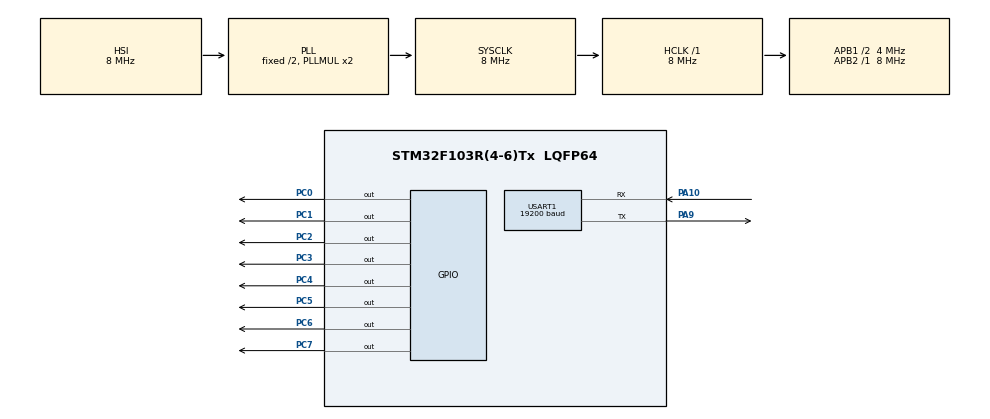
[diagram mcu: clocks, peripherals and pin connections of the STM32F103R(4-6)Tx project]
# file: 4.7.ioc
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Mcu.Family=STM32F1
Mcu.Name=STM32F103R(4-6)Tx
Mcu.Package=LQFP64
NVIC.PriorityGroup=NVIC_PRIORITYGROUP_4
NVIC.USART1_IRQn=true\:0\:0\:false\:false\:true\:true\:true
PA10.Mode=Asynchronous
PA10.Signal=USART1_RX
PA9.Mode=Asynchronous
PA9.Signal=USART1_TX
PC0.PinState=GPIO_PIN_SET
PC0.Signal=GPIO_Output
PC1.PinState=GPIO_PIN_SET
PC1.Signal=GPIO_Output
PC2.PinState=GPIO_PIN_SET
PC2.Signal=GPIO_Output
PC3.PinState=GPIO_PIN_SET
PC3.Signal=GPIO_Output
PC4.PinState=GPIO_PIN_SET
PC4.Signal=GPIO_Output
PC5.PinState=GPIO_PIN_SET
PC5.Signal=GPIO_Output
PC6.PinState=GPIO_PIN_SET
PC6.Signal=GPIO_Output
PC7.PinState=GPIO_PIN_SET
PC7.Signal=GPIO_Output
ProjectManager.HeapSize=0x200
ProjectManager.StackSize=0x400
ProjectManager.TargetToolchain=STM32CubeIDE
RCC.AHBFreq_Value=8000000
RCC.APB1CLKDivider=RCC_HCLK_DIV2
RCC.APB1Freq_Value=4000000
RCC.APB1TimFreq_Value=8000000
RCC.APB2Freq_Value=8000000
RCC.APB2TimFreq_Value=8000000
RCC.HCLKFreq_Value=8000000
RCC.SYSCLKFreq_VALUE=8000000
RCC.SYSCLKSource=RCC_SYSCLKSOURCE_PLLCLK
RCC.USBFreq_Value=8000000
USART1.BaudRate=19200
USART1.Parity=PARITY_EVEN
USART1.VirtualMode=VM_ASYNC
USART1.WordLength=WORDLENGTH_9B
VP_SYS_VS_ND.Mode=No_Debug
board=custom

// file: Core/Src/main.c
/* USER CODE BEGIN Header */
/**
  ******************************************************************************
  * @file           : main.c
  * @brief          : Main program body
  ******************************************************************************
  * @attention
  *
  * <h2><center>&copy; Copyright (c) 2020 STMicroelectronics.
  * All rights reserved.</center></h2>
  *
  * This software component is licensed by ST under BSD 3-Clause license,
  * the "License"; You may not use this file except in compliance with the
  * License. You may obtain a copy of the License at:
  *                        opensource.org/licenses/BSD-3-Clause
  *
  ******************************************************************************
  */
/* USER CODE END Header */
#include "main.h"

/* USER CODE BEGIN Includes */
#include "crc16.h"
/* USER CODE END Includes */

UART_HandleTypeDef huart1;

/* USER CODE BEGIN PV */
uint8_t rf=0;
uint8_t RcvDat[8];
/* USER CODE END PV */

void SystemClock_Config(void);
static void MX_GPIO_Init(void);
static void MX_USART1_UART_Init(void);

int main(void)
{

  /* MCU Configuration--------------------------------------------------------*/

  /* Reset of all peripherals, Initializes the Flash interface and the Systick. */
  HAL_Init();

  /* Configure the system clock */
  SystemClock_Config();

  /* Initialize all configured peripherals */
  MX_GPIO_Init();
  MX_USART1_UART_Init();
  /* USER CODE BEGIN 2 */
  HAL_UART_Receive_IT(&huart1,RcvDat,8);
  /* USER CODE END 2 */

  /* Infinite loop */
  /* USER CODE BEGIN WHILE */
  while (1)
  {
	  if(rf==1)
	  {
		  rf=0;
		  /*数据包的解析*/
		  if(crc16_gen(RcvDat,8)==0 && RcvDat[0]==1 && RcvDat[1]==0x05)  //校验并对比站号与功能�?
		  {
			  /*线圈0*/
			  if(RcvDat[2]==0 && RcvDat[3]==0)
			  {
				  if     (RcvDat[4]==0xff && RcvDat[5]==0)
					  HAL_GPIO_WritePin(GPIOC, GPIO_PIN_0,GPIO_PIN_RESET);  //ON
				  else if(RcvDat[4]==0x00 && RcvDat[5]==0)
					  HAL_GPIO_WritePin(GPIOC, GPIO_PIN_0,GPIO_PIN_SET);    //OFF
			  }
			  /*线圈1*/
			  if(RcvDat[2]==0 && RcvDat[3]==1)
			  {
				  if     (RcvDat[4]==0xff && RcvDat[5]==0)
					  HAL_GPIO_WritePin(GPIOC, GPIO_PIN_1,GPIO_PIN_RESET);  //ON
				  else if(RcvDat[4]==0x00 && RcvDat[5]==0)
					  HAL_GPIO_WritePin(GPIOC, GPIO_PIN_1,GPIO_PIN_SET);    //OFF
			  }
			  /*线圈2*/
			  //[代码略]

			  /*线圈3*/
			  //[代码略]

			  /*线圈4*/
			  //[代码略]

			  /*线圈5*/
			  //[代码略]

			  /*线圈6*/
			  //[代码略]

			  /*线圈7*/
			  //[代码略]

			  HAL_UART_Transmit_IT(&huart1,RcvDat,8);
		  }
		  else
		  {
			  HAL_UART_Receive_IT(&huart1,RcvDat,8);
		  }
	  }
    /* USER CODE END WHILE */

  }
}

void SystemClock_Config(void)
{
  RCC_OscInitTypeDef RCC_OscInitStruct = {0};
  RCC_ClkInitTypeDef RCC_ClkInitStruct = {0};

  /** Initializes the RCC Oscillators according to the specified parameters
  * in the RCC_OscInitTypeDef structure.
  */
  RCC_OscInitStruct.OscillatorType = RCC_OSCILLATORTYPE_HSI;
  RCC_OscInitStruct.HSIState = RCC_HSI_ON;
  RCC_OscInitStruct.HSICalibrationValue = RCC_HSICALIBRATION_DEFAULT;
  RCC_OscInitStruct.PLL.PLLState = RCC_PLL_ON;
  RCC_OscInitStruct.PLL.PLLSource = RCC_PLLSOURCE_HSI_DIV2;
  RCC_OscInitStruct.PLL.PLLMUL = RCC_PLL_MUL2;
  if (HAL_RCC_OscConfig(&RCC_OscInitStruct) != HAL_OK)
  {
    Error_Handler();
  }
  /** Initializes the CPU, AHB and APB buses clocks
  */
  RCC_ClkInitStruct.ClockType = RCC_CLOCKTYPE_HCLK|RCC_CLOCKTYPE_SYSCLK
                              |RCC_CLOCKTYPE_PCLK1|RCC_CLOCKTYPE_PCLK2;
  RCC_ClkInitStruct.SYSCLKSource = RCC_SYSCLKSOURCE_PLLCLK;
  RCC_ClkInitStruct.AHBCLKDivider = RCC_SYSCLK_DIV1;
  RCC_ClkInitStruct.APB1CLKDivider = RCC_HCLK_DIV2;
  RCC_ClkInitStruct.APB2CLKDivider = RCC_HCLK_DIV1;

  if (HAL_RCC_ClockConfig(&RCC_ClkInitStruct, FLASH_LATENCY_0) != HAL_OK)
  {
    Error_Handler();
  }
}

static void MX_USART1_UART_Init(void)
{

  huart1.Instance = USART1;
  huart1.Init.BaudRate = 19200;
  huart1.Init.WordLength = UART_WORDLENGTH_9B;
  huart1.Init.StopBits = UART_STOPBITS_1;
  huart1.Init.Parity = UART_PARITY_EVEN;
  huart1.Init.Mode = UART_MODE_TX_RX;
  huart1.Init.HwFlowCtl = UART_HWCONTROL_NONE;
  huart1.Init.OverSampling = UART_OVERSAMPLING_16;
  if (HAL_UART_Init(&huart1) != HAL_OK)
  {
    Error_Handler();
  }

}

static void MX_GPIO_Init(void)
{
  GPIO_InitTypeDef GPIO_InitStruct = {0};

  /* GPIO Ports Clock Enable */
  __HAL_RCC_GPIOC_CLK_ENABLE();
  __HAL_RCC_GPIOA_CLK_ENABLE();

  /*Configure GPIO pin Output Level */
  HAL_GPIO_WritePin(GPIOC, GPIO_PIN_0|GPIO_PIN_1|GPIO_PIN_2|GPIO_PIN_3
                          |GPIO_PIN_4|GPIO_PIN_5|GPIO_PIN_6|GPIO_PIN_7, GPIO_PIN_SET);

  /*Configure GPIO pins : PC0 PC1 PC2 PC3
                           PC4 PC5 PC6 PC7 */
  GPIO_InitStruct.Pin = GPIO_PIN_0|GPIO_PIN_1|GPIO_PIN_2|GPIO_PIN_3
                          |GPIO_PIN_4|GPIO_PIN_5|GPIO_PIN_6|GPIO_PIN_7;
  GPIO_InitStruct.Mode = GPIO_MODE_OUTPUT_PP;
  GPIO_InitStruct.Pull = GPIO_NOPULL;
  GPIO_InitStruct.Speed = GPIO_SPEED_FREQ_LOW;
  HAL_GPIO_Init(GPIOC, &GPIO_InitStruct);

}

/* USER CODE BEGIN 4 */
//串口接收完毕回调函数
void HAL_UART_RxCpltCallback (UART_HandleTypeDef *huart)
{
	if(huart==&huart1)
	{
		rf=1;
	}
}

//串口发�?�完毕回调函�?
void HAL_UART_TxCpltCallback (UART_HandleTypeDef *huart)
{
	if(huart==&huart1)
	{
		HAL_UART_Receive_IT(&huart1,RcvDat,8);
	}
}
/* USER CODE END 4 */

void Error_Handler(void)
{
}

/************************ (C) COPYRIGHT STMicroelectronics *****END OF FILE****/
